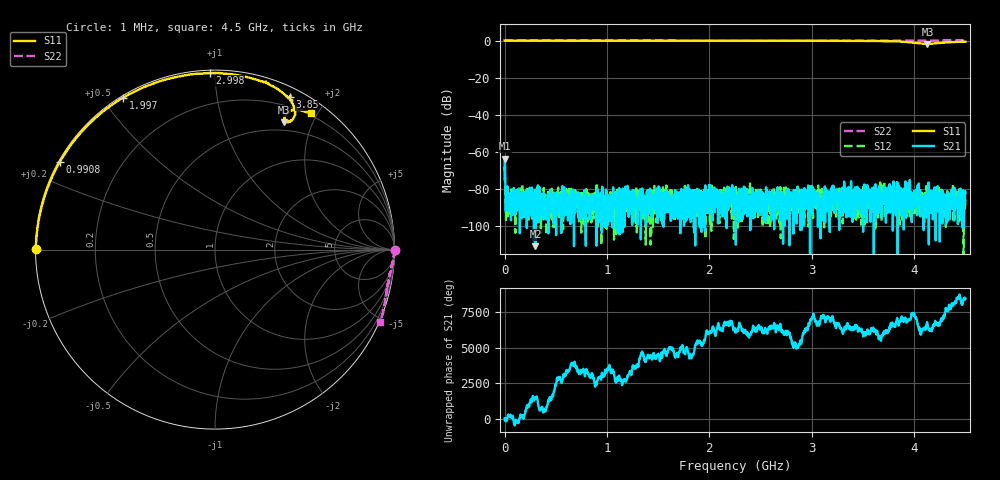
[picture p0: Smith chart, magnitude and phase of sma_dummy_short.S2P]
!Agilent Technologies,E5071C,MY46101273,A.11.02
!Date: Sat Sep 30 16:11:06 2017
!Data & Calibration Information:
!Freq	S11:SOLT2(ON)	S21:SOLT2(ON)	S12:SOLT2(ON)	S22:SOLT2(ON)
!PortZ  Port1:50+j0  Port2:50+j0
!Above PortZ is port z conversion or system Z0 setting when saving the data.
!When reading, reference impedance value at option line is always used.
# Hz S RI R 50
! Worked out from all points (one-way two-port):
!   1601 points, 1 MHz to 4.5 GHz, reference 50 ohm
!   highest |S21| = -63.81 dB at 3.812 MHz (marker M1); lowest = -111.1 dB at 301.9 MHz (marker M2)
!   lowest |S11| = -1.9 dB at 4.129 GHz (marker M3), VSWR 9.28, Z = 19.8 + j80.1 ohm
!   |S11| at or under -10 dB: nowhere
!   |S22| runs from -0.2 to 0.0 dB; largest |S21 - S12| = 0.00072
!   S11 on the Smith chart (normalised r, x): 1 MHz: 0.00, +0.00; 990.8 MHz: 0.00, +0.26; 1.997 GHz: 0.01, +0.56; 2.998 GHz: 0.02, +0.97; 3.85 GHz: 0.10, +1.60; 4.5 GHz: 0.16, +1.92
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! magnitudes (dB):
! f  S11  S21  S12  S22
! 1 MHz  0.0  -75.0  -70.9  0.0
! 3.812 MHz  0.0  -63.8  -68.1  0.0
! 26.31 MHz  0.0  -91.0  -88.3  0.0
! 29.12 MHz  0.0  -78.7  -80.4  0.0
! 54.43 MHz  0.0  -83.3  -88.7  0.0
! 301.9 MHz  0.0  -111.1  -84.9  0.0
! 751.8 MHz  -0.1  -87.9  -99.6  0.0
! 990.8 MHz  -0.1  -80.5  -87.9  0.0
! 1.503 GHz  -0.1  -83.2  -85.6  -0.1
! 1.997 GHz  -0.1  -81.9  -81.6  -0.1
! 2.251 GHz  -0.1  -83.4  -83.8  -0.1
! 2.998 GHz  -0.1  -83.1  -86.6  -0.2
! 3.001 GHz  -0.1  -78.5  -85.5  -0.2
! 3.642 GHz  -0.3  -87.1  -84.4  -0.1
! 3.687 GHz  -0.3  -91.4  -77.3  -0.1
! 3.752 GHz  -0.4  -85.7  -89.0  -0.1
! 3.85 GHz  -0.5  -90.3  -78.5  -0.1
! 3.884 GHz  -0.6  -92.1  -96.9  -0.1
! 3.938 GHz  -0.9  -81.9  -85.1  -0.1
! 3.983 GHz  -1.1  -92.5  -93.7  -0.1
! 4.129 GHz  -1.9  -83.9  -90.3  0.0
! 4.5 GHz  -0.6  -82.6  -90.9  0.0
